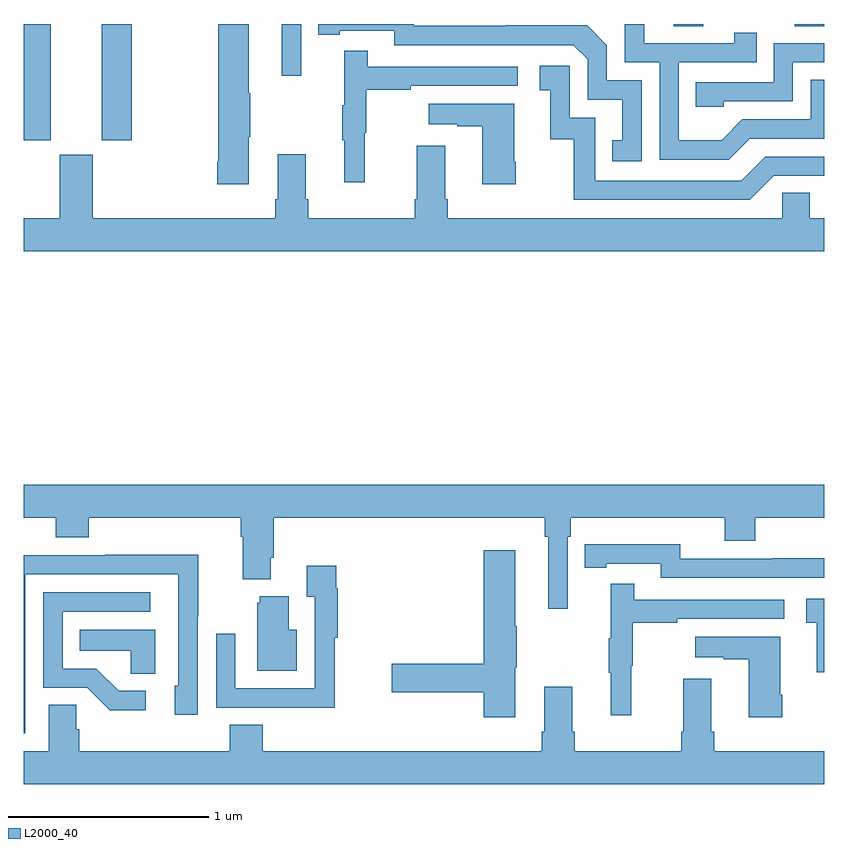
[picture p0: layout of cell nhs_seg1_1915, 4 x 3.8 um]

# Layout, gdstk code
import gdstk
lib = gdstk.Library(unit=1e-6, precision=1e-09)
def R(c, l, rs):  # rectangles x0, y0, x1, y1
    for r in rs: c.add(gdstk.rectangle(r[:2], r[2:], *l))
def P(c, l, *ps):  # polygons
    for p in ps: c.add(gdstk.Polygon(p, *l))
L2000_40 = (2000, 40)

nhs_seg1_1915 = lib.new_cell('nhs_seg1_1915')
R(nhs_seg1_1915, L2000_40, [(215,553.617,215.134,554.199), (215.39,553.617,215.538,554.199), (216.29,553.941,216.387,554.199), (218.249,554.188,218.397,554.199), (218.854,554.188,219,554.199)])
P(nhs_seg1_1915, L2000_40, [(218.629,553.626),(219,553.626),(219,553.921),(218.934,553.921),(218.934,553.722),(218.592,553.722),(218.488,553.618),(218.274,553.618),(218.274,554.007),(218.663,554.007),(218.663,554.155),(218.552,554.155),(218.552,554.103),(218.101,554.103),(218.101,554.199),(218.004,554.199),(218.004,554.007),(218.178,554.007),(218.178,553.521),(218.524,553.521)],
  [(218.088,553.917),(217.914,553.917),(217.914,554.094),(217.816,554.192),(217.408,554.192),(217.408,554.19),(216.948,554.19),(216.948,554.199),(216.472,554.199),(216.472,554.146),(216.58,554.146),(216.58,554.166),(216.852,554.166),(216.852,554.094),(217.746,554.094),(217.818,554.022),(217.818,553.821),(217.991,553.821),(217.991,553.617),(217.942,553.617),(217.942,553.512),(218.088,553.512)],
  [(216.124,553.636),(216.132,553.636),(216.132,553.853),(216.124,553.853),(216.124,554.199),(215.971,554.199),(215.971,553.51),(215.966,553.51),(215.966,553.398),(216.124,553.398)],
  [(218.499,553.812),(218.844,553.812),(218.844,554.007),(219,554.007),(219,554.103),(218.748,554.103),(218.748,553.908),(218.359,553.908),(218.359,553.785),(218.499,553.785)],
  [(216.704,553.656),(216.712,553.656),(216.712,553.87),(216.935,553.87),(216.935,553.89),(217.468,553.89),(217.468,553.986),(216.719,553.986),(216.719,554.065),(216.602,554.065),(216.602,553.793),(216.591,553.793),(216.591,553.619),(216.602,553.619),(216.602,553.407),(216.704,553.407)],
  [(218.748,553.44),(219,553.44),(219,553.536),(218.706,553.536),(218.586,553.416),(217.857,553.416),(217.857,553.731),(217.728,553.731),(217.728,553.99),(217.578,553.99),(217.578,553.869),(217.631,553.869),(217.631,553.623),(217.749,553.623),(217.749,553.32),(218.628,553.32)],
  [(217.458,553.51),(217.45,553.51),(217.45,553.801),(217.023,553.801),(217.023,553.697),(217.166,553.697),(217.166,553.687),(217.292,553.687),(217.292,553.398),(217.458,553.398)],
  [(219,553.228),(218.929,553.228),(218.929,553.355),(218.79,553.355),(218.79,553.228),(217.118,553.228),(217.118,553.324),(217.105,553.324),(217.105,553.591),(216.965,553.591),(216.965,553.324),(216.953,553.324),(216.953,553.228),(216.422,553.228),(216.422,553.324),(216.409,553.324),(216.409,553.549),(216.269,553.549),(216.269,553.324),(216.257,553.324),(216.257,553.228),(215.344,553.228),(215.344,553.545),(215.18,553.545),(215.18,553.228),(215,553.228),(215,553.064),(219,553.064)],
  [(215,551.732),(215.159,551.732),(215.159,551.633),(215.324,551.633),(215.324,551.732),(216.083,551.732),(216.083,551.636),(216.095,551.636),(216.095,551.423),(216.235,551.423),(216.235,551.53),(216.248,551.53),(216.248,551.732),(217.603,551.732),(217.603,551.636),(217.622,551.636),(217.622,551.277),(217.719,551.277),(217.719,551.636),(217.733,551.636),(217.733,551.732),(218.504,551.732),(218.504,551.615),(218.657,551.615),(218.657,551.732),(219,551.732),(219,551.896),(215,551.896)],
  [(219,551.528),(218.74,551.528),(218.74,551.526),(218.28,551.526),(218.28,551.599),(217.912,551.599),(217.912,551.598),(217.804,551.598),(217.804,551.482),(217.912,551.482),(217.912,551.502),(218.184,551.502),(218.184,551.43),(219,551.43)],
  [(217.456,550.983),(217.464,550.983),(217.464,551.189),(217.456,551.189),(217.456,551.569),(217.298,551.569),(217.298,551),(216.84,551),(216.84,550.858),(217.298,550.858),(217.298,550.734),(217.456,550.734)],
  [(215.007,551.448),(215.772,551.448),(215.772,550.89),(215.753,550.89),(215.753,550.746),(215.868,550.746),(215.868,551.239),(215.871,551.239),(215.871,551.546),(215.407,551.546),(215.407,551.544),(215,551.544),(215,550.653),(215.007,550.653)],
  [(216.554,551.132),(216.569,551.132),(216.569,551.378),(216.562,551.378),(216.562,551.491),(216.413,551.491),(216.413,551.335),(216.453,551.335),(216.453,550.878),(216.057,550.878),(216.057,551.152),(215.961,551.152),(215.961,550.782),(216.277,550.782),(216.277,550.781),(216.554,550.781)],
  [(218.036,550.992),(218.044,550.992),(218.044,551.206),(218.267,551.206),(218.267,551.226),(218.8,551.226),(218.8,551.322),(218.051,551.322),(218.051,551.401),(217.934,551.401),(217.934,551.129),(217.923,551.129),(217.923,550.955),(217.934,550.955),(217.934,550.743),(218.036,550.743)],
  [(215.608,550.866),(215.473,550.866),(215.362,550.977),(215.193,550.977),(215.193,551.262),(215.632,551.262),(215.632,551.358),(215.097,551.358),(215.097,550.881),(215.316,550.881),(215.429,550.769),(215.608,550.769)],
  [(216.364,551.17),(216.325,551.17),(216.325,551.338),(216.179,551.338),(216.179,551.307),(216.167,551.307),(216.167,550.967),(216.364,550.967)],
  [(219,551.326),(218.91,551.326),(218.91,551.205),(218.963,551.205),(218.963,550.959),(219,550.959)],
  [(215.656,551.17),(215.278,551.17),(215.278,551.066),(215.535,551.066),(215.535,550.951),(215.656,550.951)],
  [(218.79,550.846),(218.782,550.846),(218.782,551.137),(218.355,551.137),(218.355,551.033),(218.498,551.033),(218.498,551.023),(218.624,551.023),(218.624,550.734),(218.79,550.734)],
  [(219,550.564),(218.45,550.564),(218.45,550.66),(218.437,550.66),(218.437,550.927),(218.297,550.927),(218.297,550.66),(218.285,550.66),(218.285,550.564),(217.754,550.564),(217.754,550.66),(217.741,550.66),(217.741,550.885),(217.601,550.885),(217.601,550.66),(217.589,550.66),(217.589,550.564),(216.194,550.564),(216.194,550.697),(216.029,550.697),(216.029,550.564),(215.276,550.564),(215.276,550.673),(215.262,550.673),(215.262,550.796),(215.123,550.796),(215.123,550.564),(215,550.564),(215,550.4),(219,550.4)])

lib.write_gds('nhs_seg1_1915.gds')
